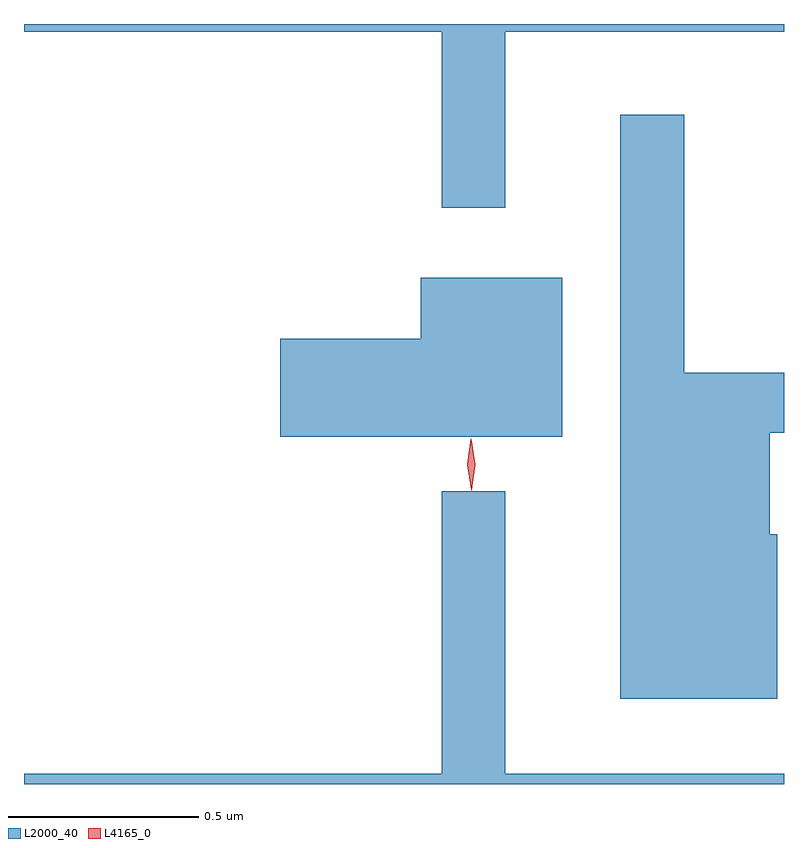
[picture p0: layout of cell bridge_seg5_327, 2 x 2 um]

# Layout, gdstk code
import gdstk
lib = gdstk.Library(unit=1e-6, precision=1e-09)
def P(c, l, *ps):  # polygons
    for p in ps: c.add(gdstk.Polygon(p, *l))
L2000_40 = (2000, 40)
L4165_0 = (4165, 0)

bridge_seg5_327 = lib.new_cell('bridge_seg5_327')
P(bridge_seg5_327, L2000_40, [(656.929,1476.776),(657.662,1476.776),(657.662,1476.797),(655.662,1476.797),(655.662,1476.776),(656.761,1476.776),(656.761,1476.313),(656.929,1476.313)],
  [(657.644,1475.454),(657.624,1475.454),(657.624,1475.721),(657.662,1475.721),(657.662,1475.879),(657.399,1475.879),(657.399,1476.558),(657.231,1476.558),(657.231,1475.021),(657.644,1475.021)],
  [(657.079,1476.129),(656.706,1476.129),(656.706,1475.969),(656.336,1475.969),(656.336,1475.711),(657.079,1475.711)],
  [(657.662,1474.824),(656.929,1474.824),(656.929,1475.568),(656.761,1475.568),(656.761,1474.824),(655.662,1474.824),(655.662,1474.797),(657.662,1474.797)])
P(bridge_seg5_327, L4165_0, [(656.839,1475.573),(656.829,1475.636),(656.838,1475.699),(656.839,1475.7),(656.84,1475.699),(656.849,1475.636),(656.84,1475.573),(656.84,1475.573)],
  [(656.839,1475.57),(656.829,1475.638),(656.838,1475.705),(656.838,1475.706),(656.839,1475.705),(656.849,1475.638),(656.84,1475.57),(656.84,1475.57)])

lib.write_gds('bridge_seg5_327.gds')
